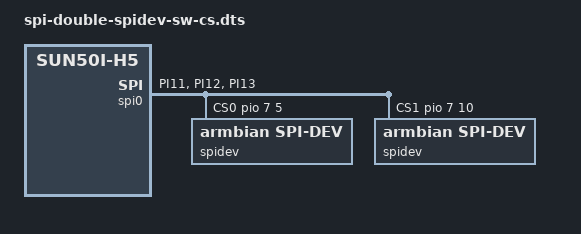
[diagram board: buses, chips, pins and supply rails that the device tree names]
/dts-v1/;
/plugin/;

/{

    compatible = "allwinner,sun4i-a10", "allwinner,sun7i-a20", "allwinner,sun8i-h3", "allwinner,sun50i-a64", "allwinner,sun50i-h5";

    fragment@0 {

        target = <&pio>;

        __overlay__ {

            spi0_pi_pins: spi0_pi_pins {
                pins = "PI11", "PI12", "PI13";
                function = "spi0";
            };

            cs0_pin: cs0_pin {
                pins = "PH5";
                function = "gpio_out";

            };

            cs1_pin: cs1_pin {
                pins = "PH10";
                function = "gpio_out";
        
            };

        };

    };

    fragment@1 {

        target = <&spi0>;

        __overlay__ {

            /* needed to avoid dtc warning */
            #address-cells = <1>;
            #size-cells = <0>;
            pinctrl-names= "default";
            pinctrl-0 = <&spi0_pi_pins>;
            spi-max-frequency = <1000000>;
            status="okay";
            cs-gpios = <&pio 7 5 0>,<&pio 7 10 0>;
            num-chipselects = <2>;

            spidev@0 {

                compatible = "armbian,spi-dev";
                reg = <0>;
                pinctrl-names = "default";
                pinctrl-0 = <&cs0_pin>;
                status = "okay";
            };

            spidev@1 {

                compatible = "armbian,spi-dev";
                reg = <1>;
                pinctrl-names = "default";
                pinctrl-0 = <&cs1_pin>;
                status = "okay";
            };

        };

    };

};

    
